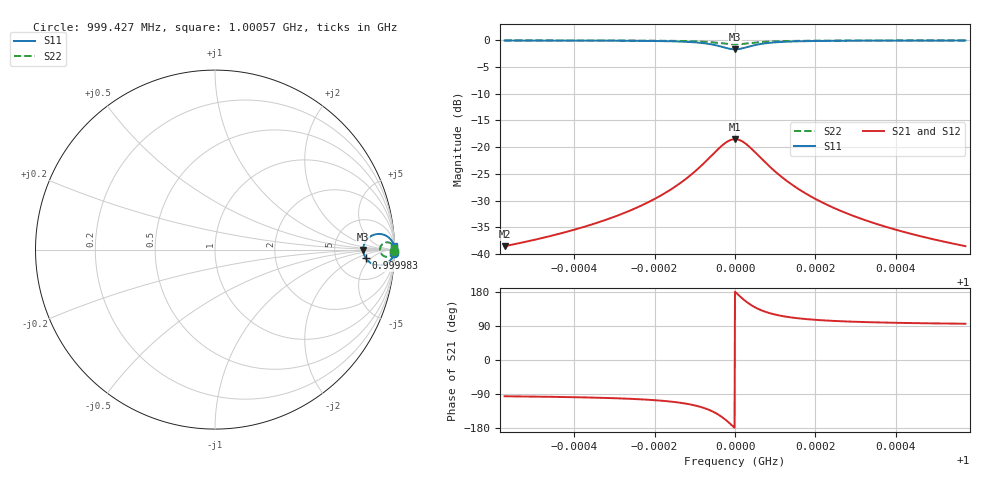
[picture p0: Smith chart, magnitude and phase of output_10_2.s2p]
! File generated for n1 = 10, n2 = 2
! b1 = 0.100000
! b2 = 0.046416
! Q0 = 10000.000000
! f0 = 1000000000.000000
! n = 1001
! rel_span = 10.000000
# Hz S RI R 50
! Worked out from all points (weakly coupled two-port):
!   1001 points, 999.427 MHz to 1.00057 GHz, reference 50 ohm
!   highest |S21| = -18.50 dB at 1 GHz (marker M1); lowest = -38.5 dB at 999.427 MHz (marker M2)
!   lowest |S11| = -1.7 dB at 1 GHz (marker M3), VSWR 10.46, Z = 523 + j0 ohm
!   |S11| at or under -10 dB: nowhere
!   |S22| runs from -0.7 to 0.0 dB; largest |S21 - S12| = 0
!   S11 on the Smith chart (normalised r, x): 999.427 MHz: open; 999.983 MHz: 10, -3; 1.00057 GHz: open
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9.994268e8  0.9983 -0.0173  -0.00118 -0.0118  -0.00118 -0.0118  0.9992 -0.00802
9.995254e8  0.9975 -0.0208  -0.00171 -0.0141  -0.00171 -0.0141  0.9988 -0.00964
9.996182e8  0.9962 -0.0256  -0.00262 -0.0174  -0.00262 -0.0174  0.9982 -0.0119
9.997237e8  0.9928 -0.0347  -0.0049 -0.0236  -0.0049 -0.0236  0.9967 -0.0161
9.998097e8  0.9855 -0.0482  -0.00988 -0.0328  -0.00988 -0.0328  0.9933 -0.0224
9.998647e8  0.9734 -0.0627  -0.0181 -0.0427  -0.0181 -0.0427  0.9877 -0.0291
9.999129e8  0.9473 -0.0801  -0.0359 -0.0546  -0.0359 -0.0546  0.9755 -0.0372
9.999553e8  0.8915 -0.0846  -0.0739 -0.0576  -0.0739 -0.0576  0.9497 -0.0393
9.99969e8  0.8649 -0.0729  -0.092 -0.0497  -0.092 -0.0497  0.9373 -0.0339
9.999828e8  0.8399 -0.048  -0.109 -0.0327  -0.109 -0.0327  0.9257 -0.0223
1e9  0.8255 0  -0.1189 0  -0.1189 0  0.919 0
1.00001e9  0.831 0.0304  -0.1151 0.0207  -0.1151 0.0207  0.9216 0.0141
1.000022e9  0.8476 0.0579  -0.1039 0.0395  -0.1039 0.0395  0.9292 0.0269
1.00005e9  0.9017 0.0865  -0.067 0.0589  -0.067 0.0589  0.9544 0.0402
1.000081e9  0.9422 0.0821  -0.0394 0.056  -0.0394 0.056  0.9732 0.0381
1.000119e9  0.9672 0.0681  -0.0223 0.0464  -0.0223 0.0464  0.9848 0.0316
1.000154e9  0.9787 0.0571  -0.0145 0.0389  -0.0145 0.0389  0.9901 0.0265
1.000191e9  0.9856 0.0479  -0.00978 0.0327  -0.00978 0.0327  0.9933 0.0223
1.000277e9  0.9929 0.0346  -0.00487 0.0236  -0.00487 0.0236  0.9967 0.016
1.000383e9  0.9962 0.0255  -0.00261 0.0174  -0.00261 0.0174  0.9982 0.0119
1.000476e9  0.9975 0.0207  -0.0017 0.0141  -0.0017 0.0141  0.9988 0.00962
1.000573e9  0.9983 0.0173  -0.00118 0.0118  -0.00118 0.0118  0.9992 0.00802
